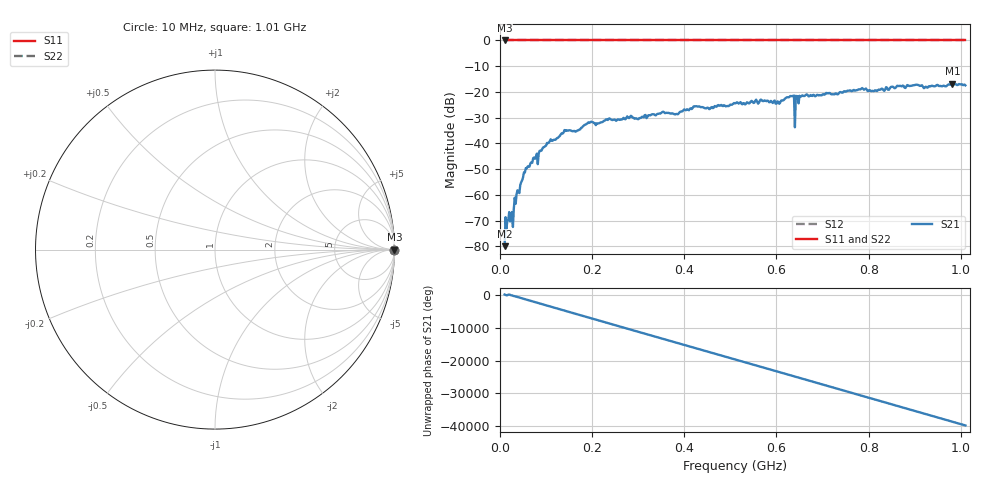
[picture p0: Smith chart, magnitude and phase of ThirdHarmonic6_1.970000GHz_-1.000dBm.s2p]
! 8/16/2025 11:42:11 PM
! C:\ANRITSUVNA\TEMP\TEMP.S2P
! CHANNEL.1
! TR.MEASUREMENT
! RAW.DATA
! RF.CORRECTION.OFF
! AVERAGING.OFF
! IF.BANDWIDTH: 5KHZ
! SWEEPTYPE:  FREQ.SWEEP(Linear)
! Reference Plane Port Info
! PORT:  PORT1  PORT2
! DISTANCE:  0  m  0  m
! TIME:  0  s  0  s
! PHASE.OFFSET:  0  deg.  0  deg.
! LOSS:  0  dB  0  dB
! REF.LOSS:  0  dB  0  dB
! REF.FREQ:  0  Hz  0  Hz
! Power Info
! POWER:  -20  dBm  -20  dBm
! EFF.POWER:  -20  dBm  -20  dBm
! SOURCE.ATTEN:  0  dB  0  dB
! TEST.ATTEN:  0  dB  0  dB
# GHZ S RI R 50.0
! FREQ.GHZ  S11RE  S11IM  S21RE  S21IM  S12RE  S12IM  S22RE  S22IM
!; PortSelection: Port_12
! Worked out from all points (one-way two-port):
!   501 points, 10 MHz to 1.01 GHz, reference 50 ohm
!   highest |S21| = -16.80 dB at 982 MHz (marker M1); lowest = -79.9 dB at 10 MHz (marker M2)
!   lowest |S11| = 0.0 dB at 10 MHz (marker M3)
!   |S11| at or under -10 dB: nowhere
!   |S22| runs from 0.0 to 0.0 dB; largest |S21 - S12| = 1.1
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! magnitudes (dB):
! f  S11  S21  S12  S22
! 10 MHz  0.0  -79.9  0.0  0.0
! 16 MHz  0.0  -69.9  0.0  0.0
! 26 MHz  0.0  -66.6  0.0  0.0
! 36 MHz  0.0  -59.7  0.0  0.0
! 56 MHz  0.0  -49.6  0.0  0.0
! 106 MHz  0.0  -39.7  0.0  0.0
! 142 MHz  0.0  -35.2  0.0  0.0
! 178 MHz  0.0  -33.8  0.0  0.0
! 196 MHz  0.0  -31.8  0.0  0.0
! 344 MHz  0.0  -28.5  0.0  0.0
! 382 MHz  0.0  -28.6  0.0  0.0
! 424 MHz  0.0  -25.6  0.0  0.0
! 510 MHz  0.0  -24.4  0.0  0.0
! 602 MHz  0.0  -23.7  0.0  0.0
! 634 MHz  0.0  -21.6  0.0  0.0
! 636 MHz  0.0  -21.5  0.0  0.0
! 644 MHz  0.0  -21.6  0.0  0.0
! 646 MHz  0.0  -21.6  0.0  0.0
! 678 MHz  0.0  -21.5  0.0  0.0
! 844 MHz  0.0  -19.1  0.0  0.0
! 982 MHz  0.0  -16.8  0.0  0.0
! 1.01 GHz  0.0  -17.4  0.0  0.0
